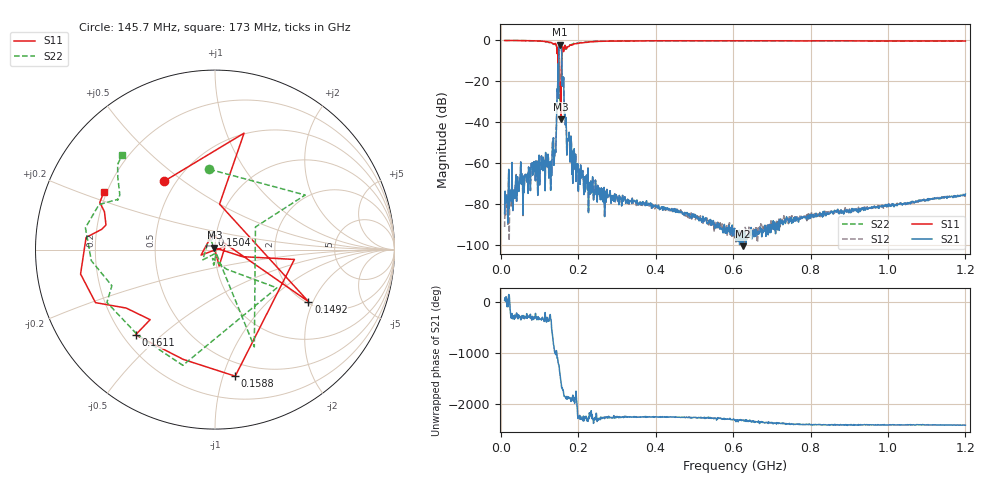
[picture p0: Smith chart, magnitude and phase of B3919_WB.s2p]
! Matrix data file written by TouchstoneData, EPCOS AG
! FILENAME: "newformat_B3592_WB_6.s2p"
! COMMENT: "(B3592_WB_6.s2p)"
! INFO: nport=2, nfreq=1001
! DATE: "Tue Jan 10 10:25:55 2012"
! USER: "Daniel Harbusch"
! port | pin | signal
!  1  |  2  |  IN
!  2  |  6  |  OUT
# MHZ S MA R 50
! freq  magS11 angS11  magS21 angS21  magS12 angS12  magS22 angS22
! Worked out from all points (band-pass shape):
!   1001 points, 10 MHz to 1.2 GHz, reference 50 ohm
!   highest |S21| = -2.05 dB at 152.8 MHz (marker M1); lowest = -100.7 dB at 626.4 MHz (marker M2)
!   |S21| within 3 dB of the highest: 150.3 MHz to 157 MHz (6.704 MHz wide, 4.36 % of centre)
!   lowest |S11| = -38.6 dB at 155.2 MHz (marker M3), VSWR 1.02, Z = 49.6 + j1.11 ohm
!   |S11| at or under -10 dB: 147.7733 MHz to 148.3428 MHz (569.5 kHz wide, 0.385 % of centre); 149.6 MHz to 157.2 MHz (7.549 MHz wide, 4.92 % of centre)
!   |S22| runs from -33.9 to 0.0 dB; largest |S21 - S12| = 0.00084
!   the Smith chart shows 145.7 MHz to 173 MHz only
!   S11 on the Smith chart (normalised r, x): 145.7 MHz: 0.43, +0.42; 149.2 MHz: 2.06, -1.85; 150.4 MHz: 0.96, +0.16; 158.8 MHz: 0.38, -1.10; 161.1 MHz: 0.25, -0.41; 173 MHz: 0.19, +0.23
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10  0.9976 -4.0  5.708e-05 40.7  2.729e-05 78.4  0.9997 -3.7
89.73  0.9758 -40.6  0.0003661 139.3  0.0003532 140.5  0.9766 -40.9
109.96  0.9508 -64.2  0.001387 17.7  0.001363 17.7  0.9466 -66.8
126.62  0.8974 -100.9  0.001069 70.1  0.001073 69.9  0.8812 -110.1
137.33  0.8273 -147.2  0.0008798 -149.3  0.0008748 -149.5  0.8305 -167.4
145.66  0.4749 126.9  0.06559 -24.4  0.0656 -24.5  0.4484 94.0
149.23  0.596 -29.1  0.03874 -141.4  0.03873 -141.3  0.5849 -68.0
150.42  0.08508 100.7  0.682 -160.1  0.6815 -160.1  0.07844 113.1
152.8  0.05944 17.8  0.7897 36.3  0.7893 36.3  0.02021 -71.6
155.18  0.01172 107.9  0.7532 -84.6  0.7527 -84.6  0.05148 -105.3
158.75  0.7142 -80.9  0.07695 116.6  0.0769 116.6  0.6691 -105.5
161.13  0.6495 -133.0  0.07661 72.7  0.07661 72.7  0.6703 -153.9
173.03  0.6972 152.7  0.003437 -91.6  0.003432 -91.6  0.7393 134.5
189.69  0.8194 103.0  0.002241 -136.7  0.00223 -136.7  0.8448 90.5
208.73  0.874 74.1  0.0004309 -149.4  0.0004389 -149.3  0.8872 66.6
274.18  0.9613 39.8  0.0002242 -119.9  0.0002282 -122.8  0.9651 36.7
407.46  0.9816 21.4  9.318e-05 -105.6  8.487e-05 -99.8  0.9824 20.6
605  0.9815 12.6  2.379e-05 -163.2  1.478e-05 -169.1  0.9805 13.0
626.42  0.9831 12.2  9.263e-06 -159.6  1.885e-05 179.8  0.9799 12.6
803.73  0.9769 8.9  4.968e-05 106.7  5.08e-05 109.5  0.977 9.8
1002.46  0.9724 6.6  8.979e-05 102.1  8.916e-05 98.2  0.9767 8.3
1200  0.968 5.0  0.0001749 95.0  0.000169 96.4  0.9776 7.7
